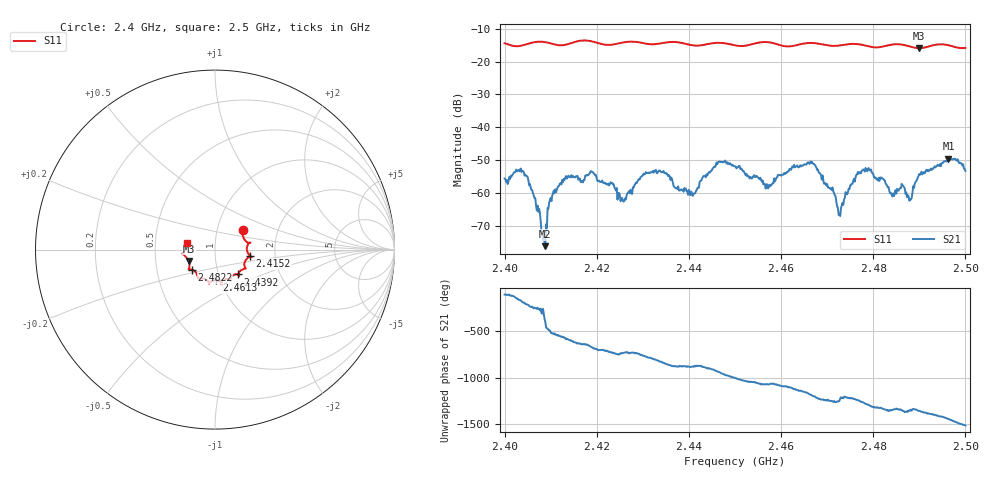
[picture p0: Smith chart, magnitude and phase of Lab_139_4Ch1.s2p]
# Hz S RI R 50
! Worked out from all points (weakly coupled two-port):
!   601 points, 2.4 GHz to 2.5 GHz, reference 50 ohm
!   highest |S21| = -49.61 dB at 2.4963 GHz (marker M1); lowest = -76.3 dB at 2.4088 GHz (marker M2)
!   lowest |S11| = -15.9 dB at 2.49 GHz (marker M3), VSWR 1.38, Z = 36.9 - j4.83 ohm
!   |S11| at or under -10 dB: start of sweep to end of sweep
!   S12 and S22 are empty: the file has one direction only
!   S11 on the Smith chart (normalised r, x): 2.4 GHz: 1.33, +0.30; 2.4152 GHz: 1.48, -0.11; 2.4392 GHz: 1.23, -0.35; 2.4613 GHz: 0.96, -0.34; 2.4822 GHz: 0.76, -0.17; 2.5 GHz: 0.73, +0.05
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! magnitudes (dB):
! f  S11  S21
! 2.4 GHz  -14.4  -55.7
! 2.4045 GHz  -14.8  -54.5
! 2.4088 GHz  -14.0  -76.3
! 2.4102 GHz  -14.5  -62.5
! 2.4152 GHz  -14.0  -55.2
! 2.4167 GHz  -13.6  -56.8
! 2.4192 GHz  -13.9  -53.7
! 2.4257 GHz  -14.2  -62.4
! 2.4333 GHz  -14.6  -53.5
! 2.4392 GHz  -14.5  -59.0
! 2.45 GHz  -15.0  -51.9
! 2.4572 GHz  -14.1  -58.7
! 2.4613 GHz  -15.4  -53.5
! 2.4667 GHz  -14.3  -50.5
! 2.4727 GHz  -15.1  -66.4
! 2.4772 GHz  -14.8  -53.9
! 2.4822 GHz  -15.4  -55.8
! 2.4833 GHz  -15.0  -58.2
! 2.4878 GHz  -15.3  -62.4
! 2.49 GHz  -15.9  -54.2
! 2.4963 GHz  -15.0  -49.6
! 2.5 GHz  -15.8  -53.3
